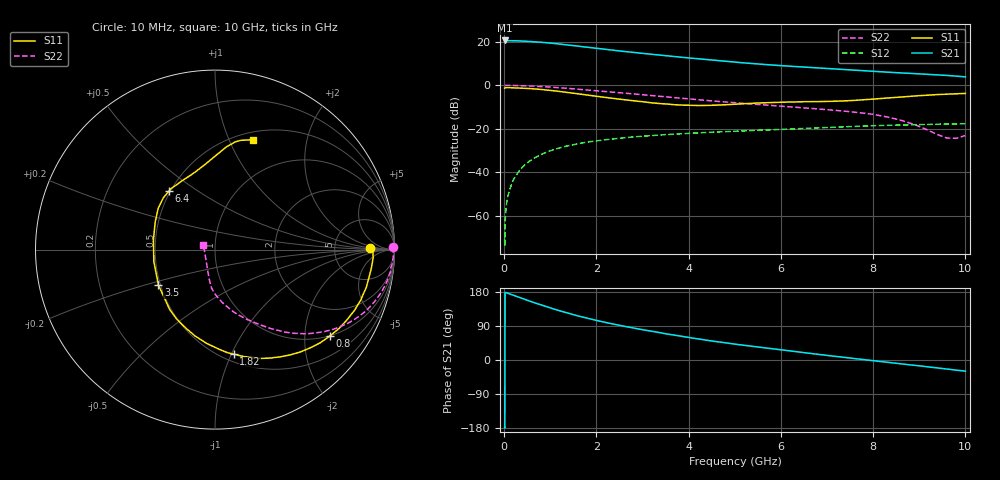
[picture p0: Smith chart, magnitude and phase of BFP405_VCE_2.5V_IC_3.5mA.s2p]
! Infineon Technologies  Discrete & RF Semiconductors
! BFP405
! VCE =  2.5 V,  IC =  3.5 mA
! Common Emitter S-Parameters:  Jan 2016
# GHz  S  MA  R  50
!  f  S11  S21  S12  S22
! GHz  MAG  ANG  MAG  ANG  MAG  ANG  MAG  ANG
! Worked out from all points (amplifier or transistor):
!   233 points, 10 MHz to 10 GHz, reference 50 ohm
!   highest |S21| = 20.6 dB at 10 MHz (marker M1)
!   |S21| within 3 dB of that: start of sweep to 1.759 GHz
!   unconditionally stable (mu >= 1): 3.775 GHz to end of sweep
!   at 200 MHz: K = 0.07, MSG = 32.0 dB, |S12| = -43.5 dB
!   at 1.74 GHz: K = 0.45, MSG = 22.0 dB, |S12| = -26.4 dB
!   at 10 GHz: K = 1.52, MAG = 6.5 dB, |S12| = -17.7 dB
!   S11 on the Smith chart (normalised r, x): 10 MHz: 13, +1; 800 MHz: 0.99, -2.66; 1.82 GHz: 0.57, -1.02; 3.5 GHz: 0.49, -0.22; 6.4 GHz: 0.49, +0.39; 10 GHz: 0.58, +1.23
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0.01  0.8609 0.5  10.7 -177.4  0.0003 -81.4  0.9928 0.8
0.015  0.8705 -0.2  10.65 -179.5  0.0002 102.6  0.9922 0.4
0.02  0.8802 -0.8  10.61 178.4  0.0007 100.9  0.9916 -0.1
0.065  0.8818 -3.3  10.54 176.9  0.0023 87.9  0.9939 -1.3
0.185  0.8738 -8.7  10.52 171.6  0.0062 85.3  0.9911 -4.2
0.5  0.8481 -23.4  10.24 157.8  0.0164 78.3  0.9701 -11.4
0.8  0.8006 -37.0  9.735 145.2  0.0256 71.7  0.9362 -17.9
1.18  0.7253 -53.5  8.907 130.6  0.0358 63.9  0.8797 -25.3
1.4  0.6793 -62.8  8.399 122.8  0.041 59.9  0.8443 -29.2
1.68  0.6204 -74.2  7.758 113.8  0.0469 55.3  0.7982 -33.6
1.82  0.592 -79.9  7.443 109.6  0.0496 53.1  0.7759 -35.6
2.2  0.5251 -95.0  6.679 99.0  0.056 48.1  0.7175 -40.5
2.6  0.4653 -110.8  5.985 89.1  0.062 43.5  0.6601 -45.1
3.4  0.3774 -143.3  4.893 71.6  0.0722 35.5  0.5545 -53.4
3.5  0.3724 -147.8  4.783 69.2  0.0734 34.6  0.542 -54.5
4.3  0.3422 178.9  3.959 54.0  0.0814 28.2  0.4558 -62.3
5.1  0.3707 152.9  3.33 40.3  0.0885 22.6  0.3889 -70.0
6.4  0.4154 128.0  2.655 21.0  0.1006 15.1  0.3085 -80.5
6.8  0.4204 120.0  2.495 15.2  0.1048 12.6  0.2857 -83.8
8.4  0.5183 90.3  1.973 -7.4  0.1206 0.9  0.1775 -99.7
9.6  0.6252 76.8  1.681 -24.0  0.1284 -7.6  0.0612 -154.3
10  0.6483 70.9  1.56 -29.5  0.1304 -10.1  0.07 158.6
